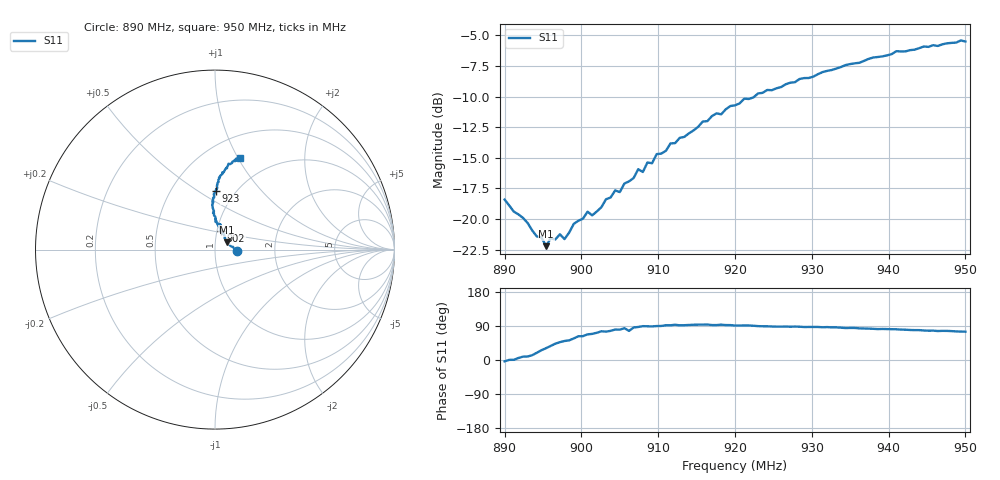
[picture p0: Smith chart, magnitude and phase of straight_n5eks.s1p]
# HZ S RI R 50
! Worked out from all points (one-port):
!   101 points, 890 MHz to 950 MHz, reference 50 ohm
!   lowest |S11| = -22.2 dB at 895.4 MHz (marker M1), VSWR 1.17, Z = 56.9 + j4.6 ohm
!   |S11| at or under -10 dB: start of sweep to 922.5 MHz
!   S11 on the Smith chart (normalised r, x): 890 MHz: 1.27, -0.02; 902 MHz: 1.05, +0.22; 923 MHz: 0.81, +0.59; 950 MHz: 0.72, +1.02
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8.9e8  0.1198 -0.00741
8.942e8  0.0801 0.0278
8.948e8  0.0756 0.0366
8.954e8  0.0662 0.0402
8.96e8  0.0665 0.0503
8.966e8  0.0603 0.0563
8.972e8  0.059 0.0634
8.978e8  0.0531 0.0635
8.99e8  0.0522 0.0799
9.008e8  0.0408 0.099
9.014e8  0.0372 0.0965
9.02e8  0.0335 0.1019
9.044e8  0.0219 0.129
9.05e8  0.0224 0.1268
9.056e8  0.0147 0.1388
9.062e8  0.0325 0.1387
9.074e8  0.00788 0.1595
9.08e8  0.00183 0.1555
9.086e8  0.00298 0.1701
9.092e8  0.00398 0.1689
9.098e8  0.00138 0.1841
9.128e8  -0.00545 0.2144
9.2e8  -0.00447 0.2912
9.23e8  0.00325 0.3257
9.278e8  0.0116 0.3618
9.35e8  0.0403 0.4273
9.428e8  0.0915 0.4806
9.5e8  0.1399 0.5119
